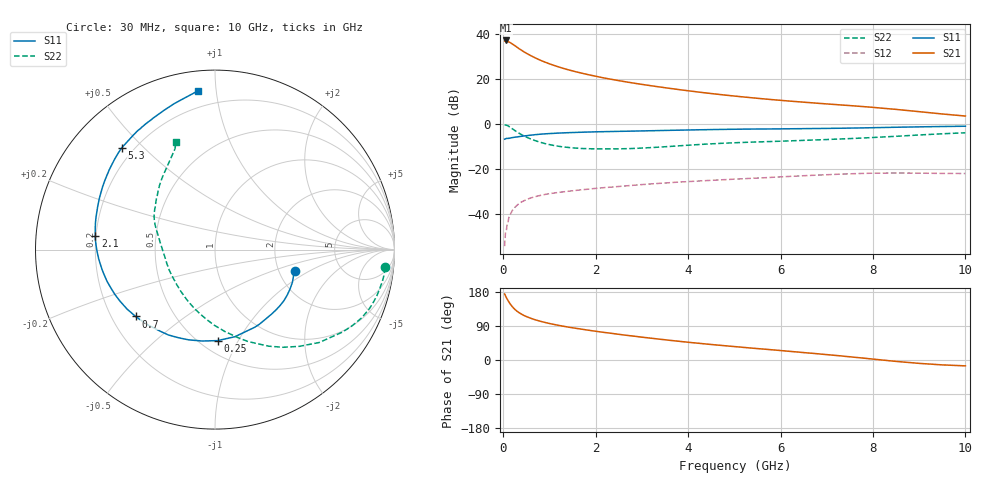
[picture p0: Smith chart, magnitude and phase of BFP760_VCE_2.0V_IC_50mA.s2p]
! Infineon Technologies  Discrete & RF Semiconductors
! BFP760
! VCE =  2.0 V,  IC =  50 mA
! Common Emitter S-Parameters:  Nov 2012
# GHz  S  MA  R  50
!  f  S11  S21  S12  S22
! GHz  MAG  ANG  MAG  ANG  MAG  ANG  MAG  ANG
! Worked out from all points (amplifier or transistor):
!   99 points, 30 MHz to 10 GHz, reference 50 ohm
!   highest |S21| = 37.2 dB at 60 MHz (marker M1)
!   |S21| within 3 dB of that: start of sweep to 298.7 MHz
!   unconditionally stable (mu >= 1): 3.567 GHz to end of sweep
!   at 350 MHz: K = 0.37, MSG = 34.4 dB, |S12| = -35.3 dB
!   at 3.5 GHz: K = 1.00, MSG = 21.2 dB, |S12| = -26.3 dB
!   at 10 GHz: K = 1.06, MAG = 11.3 dB, |S12| = -22.1 dB
!   S11 on the Smith chart (normalised r, x): 30 MHz: 2.44, -0.73; 250 MHz: 0.60, -0.83; 700 MHz: 0.30, -0.34; 2.1 GHz: 0.20, +0.05; 5.3 GHz: 0.16, +0.43; 10 GHz: 0.10, +0.89
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0.03  0.4585 -14.9  70.3 174.2  0.0019 71.0  0.9539 -6.0
0.05  0.4683 -22.9  72.16 169.0  0.0038 99.7  0.9493 -10.7
0.06  0.4723 -27.8  72.35 166.7  0.0041 81.8  0.9432 -13.3
0.07  0.4754 -32.1  72.29 164.2  0.0044 80.3  0.9381 -15.8
0.09  0.4782 -40.7  70.43 159.7  0.0061 81.3  0.9223 -20.6
0.15  0.486 -62.8  64.93 148.1  0.0095 69.2  0.844 -33.1
0.2  0.4979 -77.1  60 140.2  0.012 64.2  0.778 -41.7
0.25  0.5074 -88.4  55.65 133.8  0.0138 60.7  0.7153 -48.9
0.35  0.5239 -106.3  46.8 124.3  0.0171 55.7  0.6166 -60.8
0.45  0.5419 -118.6  40.28 117.4  0.0195 51.6  0.5427 -70.4
0.6  0.5644 -132.7  33.03 109.9  0.0226 47.0  0.4609 -82.9
0.7  0.5783 -139.9  29.34 105.8  0.0242 45.1  0.4224 -90.3
0.9  0.6018 -151.3  23.91 99.2  0.0269 41.8  0.3662 -103.5
1.1  0.6187 -160.0  20.09 93.8  0.029 40.1  0.3308 -115.0
1.7  0.6545 -177.9  13.5 81.3  0.0343 38.4  0.284 -141.4
2.1  0.6714 173.6  10.99 74.2  0.0375 37.8  0.2794 -154.9
3.4  0.7135 152.2  6.63 54.7  0.0477 36.0  0.3064 173.2
5.1  0.7648 133.9  4.087 34.4  0.0596 32.0  0.3852 151.8
5.3  0.7688 132.4  3.902 32.2  0.0611 31.5  0.3917 149.9
6.7  0.791 122.6  2.946 17.6  0.0719 26.6  0.4384 137.5
8.5  0.8449 105.5  2.111 -3.7  0.081 15.0  0.5313 120.4
10  0.8902 96.2  1.5 -15.5  0.0789 9.8  0.6364 110.1
